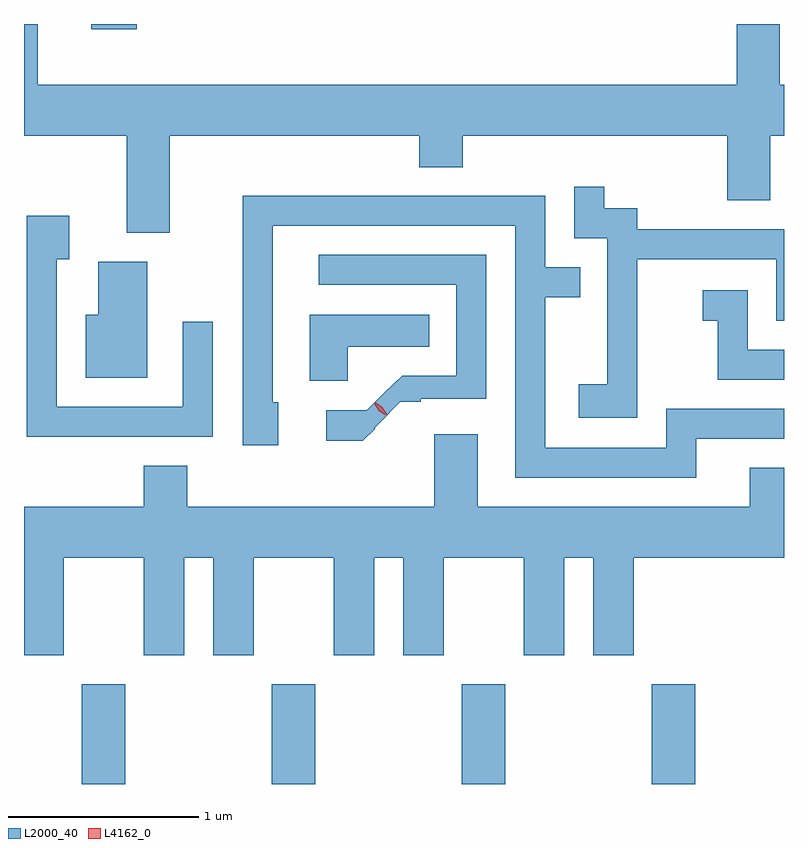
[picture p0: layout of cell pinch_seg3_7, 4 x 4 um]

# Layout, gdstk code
import gdstk
lib = gdstk.Library(unit=1e-6, precision=1e-09)
def R(c, l, rs):  # rectangles x0, y0, x1, y1
    for r in rs: c.add(gdstk.rectangle(r[:2], r[2:], *l))
def A(c, l, x, y, w, h, nx, ny, dx, dy):  # array of equal rectangles
    R(c, l, [(x+i*dx, y+j*dy, x+i*dx+w, y+j*dy+h) for i in range(nx) for j in range(ny)])
def P(c, l, *ps):  # polygons
    for p in ps: c.add(gdstk.Polygon(p, *l))
L2000_40 = (2000, 40)
L4162_0 = (4162, 0)

pinch_seg3_7 = lib.new_cell('pinch_seg3_7')
A(pinch_seg3_7, L2000_40, 829.776, 1164.784, 0.228, 0.525, 4, 1, 1, 0)
R(pinch_seg3_7, L2000_40, [(829.826,1168.756,830.064,1168.784)])
P(pinch_seg3_7, L2000_40, [(830.239,1168.196),(831.551,1168.196),(831.551,1168.031),(831.779,1168.031),(831.779,1168.196),(833.171,1168.196),(833.171,1167.856),(833.399,1167.856),(833.399,1168.196),(833.471,1168.196),(833.471,1168.464),(833.449,1168.464),(833.449,1168.784),(833.221,1168.784),(833.221,1168.464),(829.544,1168.464),(829.544,1168.784),(829.471,1168.784),(829.471,1168.196),(830.011,1168.196),(830.011,1167.686),(830.239,1167.686)],
  [(832.699,1167.546),(833.431,1167.546),(833.431,1167.221),(833.471,1167.221),(833.471,1167.704),(832.699,1167.704),(832.699,1167.814),(832.524,1167.814),(832.524,1167.928),(832.366,1167.928),(832.366,1167.656),(832.541,1167.656),(832.541,1166.889),(832.391,1166.889),(832.391,1166.711),(832.699,1166.711)],
  [(833.009,1166.601),(833.471,1166.601),(833.471,1166.759),(832.851,1166.759),(832.851,1166.554),(832.214,1166.554),(832.214,1167.346),(832.398,1167.346),(832.398,1167.504),(832.214,1167.504),(832.214,1167.879),(830.621,1167.879),(830.621,1166.566),(830.809,1166.566),(830.809,1166.794),(830.779,1166.794),(830.779,1167.721),(832.056,1167.721),(832.056,1166.396),(833.009,1166.396)],
  [(830.464,1167.218),(830.306,1167.218),(830.306,1166.769),(829.644,1166.769),(829.644,1167.546),(829.709,1167.546),(829.709,1167.774),(829.486,1167.774),(829.486,1166.611),(830.464,1166.611)],
  [(831.319,1166.655),(831.317,1166.658),(831.396,1166.738),(831.394,1166.739),(831.452,1166.797),(831.559,1166.797),(831.559,1166.812),(831.904,1166.812),(831.904,1167.569),(831.023,1167.569),(831.023,1167.411),(831.746,1167.411),(831.746,1166.934),(831.461,1166.934),(831.368,1166.842),(831.367,1166.843),(831.276,1166.751),(831.063,1166.751),(831.063,1166.591),(831.255,1166.591)],
  [(830.119,1167.534),(829.861,1167.534),(829.861,1167.254),(829.796,1167.254),(829.796,1166.921),(830.119,1166.921)],
  [(833.471,1167.069),(833.279,1167.069),(833.279,1167.384),(833.043,1167.384),(833.043,1167.221),(833.121,1167.221),(833.121,1166.911),(833.471,1166.911)],
  [(831.174,1167.086),(831.603,1167.086),(831.603,1167.254),(830.976,1167.254),(830.976,1166.906),(831.174,1166.906)],
  [(829.679,1165.976),(830.101,1165.976),(830.101,1165.461),(830.314,1165.461),(830.314,1165.976),(830.466,1165.976),(830.466,1165.461),(830.679,1165.461),(830.679,1165.976),(831.101,1165.976),(831.101,1165.461),(831.314,1165.461),(831.314,1165.976),(831.466,1165.976),(831.466,1165.461),(831.679,1165.461),(831.679,1165.976),(832.101,1165.976),(832.101,1165.461),(832.314,1165.461),(832.314,1165.976),(832.466,1165.976),(832.466,1165.461),(832.679,1165.461),(832.679,1165.976),(833.471,1165.976),(833.471,1166.449),(833.291,1166.449),(833.291,1166.244),(831.859,1166.244),(831.859,1166.624),(831.631,1166.624),(831.631,1166.244),(830.329,1166.244),(830.329,1166.459),(830.101,1166.459),(830.101,1166.244),(829.471,1166.244),(829.471,1165.461),(829.679,1165.461)])
P(pinch_seg3_7, L4162_0, [(831.381,1166.727),(831.343,1166.753),(831.318,1166.792),(831.318,1166.793),(831.319,1166.793),(831.357,1166.767),(831.382,1166.727),(831.382,1166.727)],
  [(831.372,1166.726),(831.338,1166.749),(831.318,1166.784),(831.318,1166.785),(831.319,1166.785),(831.353,1166.762),(831.373,1166.727),(831.373,1166.726)])

lib.write_gds('pinch_seg3_7.gds')
